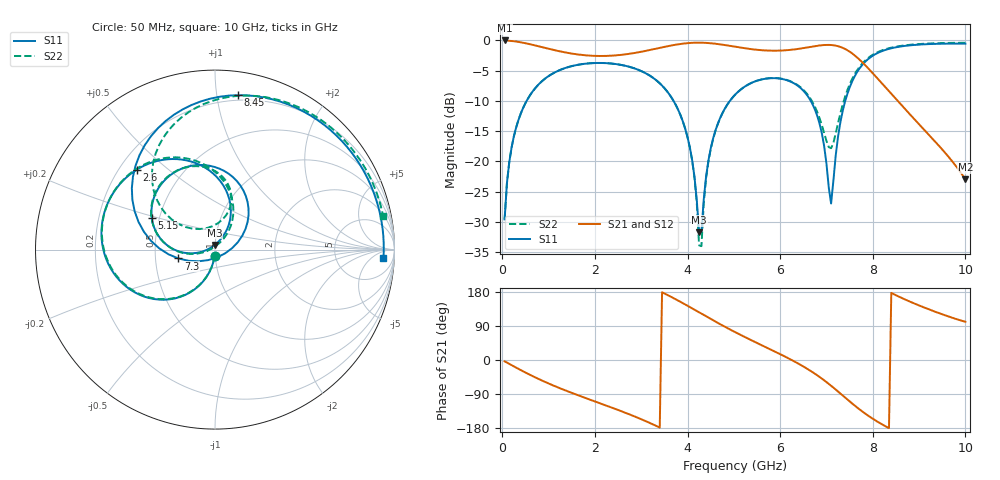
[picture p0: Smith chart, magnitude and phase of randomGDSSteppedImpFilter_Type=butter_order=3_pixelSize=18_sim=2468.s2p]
! freq	dB(S11)	phase(S11)	dB(S12)	phase(S12)
!  dB(S21)	phase(S21)	dB(S22)	phase(S22)
!S-par simulation data
#  GHz  S  DB  R 50
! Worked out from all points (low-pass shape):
!   200 points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, 50 MHz to 10 GHz, reference 50 ohm
!   highest |S21| = -0.01 dB at 50 MHz (marker M1); lowest = -23.0 dB at 10 GHz (marker M2)
!   |S21| within 3 dB of the highest: start of sweep to 7.69 GHz
!   lowest |S11| = -31.8 dB at 4.25 GHz (marker M3), VSWR 1.05, Z = 49.7 + j2.56 ohm
!   |S11| at or under -10 dB: start of sweep to 526.7 MHz; 3.697 GHz to 4.915 GHz (1.217 GHz wide, 28.3 % of centre); 6.66 GHz to 7.406 GHz (746.2 MHz wide, 10.6 % of centre)
!   |S22| runs from -34.0 to -0.4 dB; largest |S21 - S12| = 0
!   S11 on the Smith chart (normalised r, x): 50 MHz: 0.99, -0.07; 2.6 GHz: 0.27, +0.39; 5.15 GHz: 0.46, +0.19; 7.3 GHz: 0.66, -0.07; 8.45 GHz: 0.16, +1.14; 10 GHz: 19, -16
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0.05  -29.61 -93.6  -0.01 -3.5  -0.01 -3.5  -29.61 -93.6
0.2  -17.74 -104.1  -0.10 -13.6  -0.10 -13.6  -17.74 -104.2
0.5  -10.37 -123.4  -0.47 -33.1  -0.47 -33.1  -10.38 -123.8
1.75  -3.89 172.1  -2.43 -98.2  -2.43 -98.2  -3.90 170.7
2.6  -4.10 134.5  -2.36 -136.5  -2.36 -136.5  -4.11 132.3
3.4  -7.10 94.0  -1.23 -178.3  -1.23 -178.3  -7.10 91.3
4  -16.01 61.0  -0.46 143.2  -0.46 143.2  -16.03 56.3
4.15  -22.57 59.7  -0.38 132.8  -0.38 132.8  -22.72 51.9
4.25  -31.77 94.7  -0.37 125.8  -0.37 125.8  -33.90 80.7
4.55  -16.29 -172.4  -0.50 105.0  -0.50 105.0  -16.37 -171.2
5.05  -8.80 159.6  -1.07 72.1  -1.07 72.1  -8.81 159.9
5.15  -8.12 153.7  -1.19 65.9  -1.19 65.9  -8.13 154.1
6  -6.33 103.1  -1.69 15.4  -1.69 15.4  -6.30 107.6
6.7  -10.57 50.9  -1.01 -32.1  -1.01 -32.1  -10.22 72.7
6.9  -15.36 27.0  -0.80 -49.0  -0.80 -49.0  -14.01 72.2
7.1  -26.98 -74.0  -0.76 -67.9  -0.76 -67.9  -17.83 111.8
7.3  -13.57 -166.4  -1.08 -88.3  -1.08 -88.3  -12.07 144.9
7.75  -4.27 138.4  -3.44 -133.7  -3.44 -133.7  -4.04 121.8
8.35  -1.40 88.4  -8.42 -179.8  -8.42 -179.8  -1.29 82.6
8.45  -1.21 81.6  -9.28 173.9  -9.28 173.9  -1.11 77.2
9.25  -0.60 35.3  -15.92 131.9  -15.92 131.9  -0.50 40.3
10  -0.54 -2.9  -22.99 100.9  -22.99 100.9  -0.40 11.3
